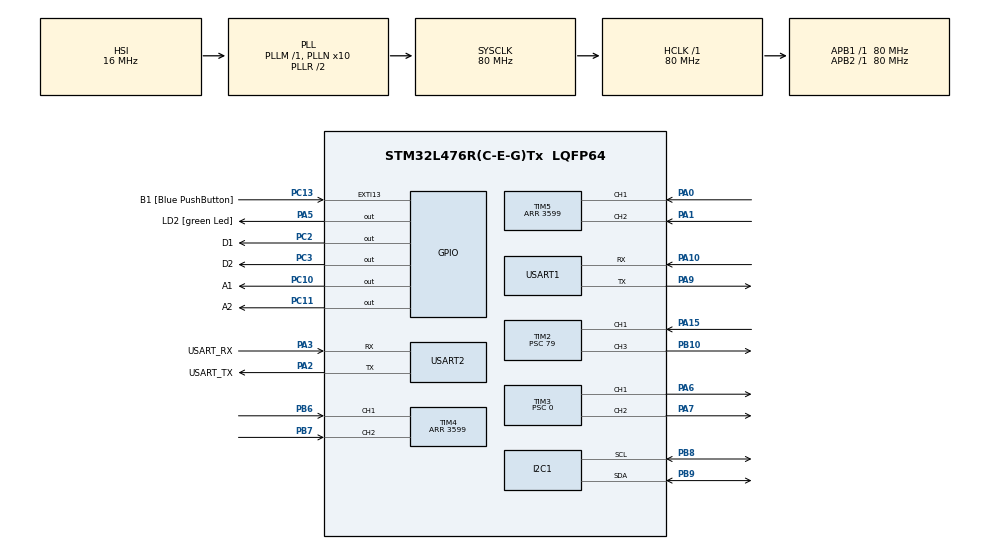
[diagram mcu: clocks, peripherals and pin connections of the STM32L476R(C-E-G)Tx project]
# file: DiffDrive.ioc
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Dma.Request0=USART1_RX
Dma.USART1_RX.0.Direction=DMA_PERIPH_TO_MEMORY
Dma.USART1_RX.0.Instance=DMA1_Channel5
Dma.USART1_RX.0.MemDataAlignment=DMA_MDATAALIGN_BYTE
Dma.USART1_RX.0.MemInc=DMA_MINC_ENABLE
Dma.USART1_RX.0.Mode=DMA_NORMAL
Dma.USART1_RX.0.PeriphDataAlignment=DMA_PDATAALIGN_BYTE
Dma.USART1_RX.0.PeriphInc=DMA_PINC_DISABLE
Dma.USART1_RX.0.Priority=DMA_PRIORITY_LOW
I2C1.CustomTiming=Disabled
I2C1.Timing=0x10909CEC
Mcu.Family=STM32L4
Mcu.Name=STM32L476R(C-E-G)Tx
Mcu.Package=LQFP64
NVIC.DMA1_Channel5_IRQn=true\:3\:0\:true\:false\:true\:false\:true\:true
NVIC.I2C1_ER_IRQn=true\:6\:0\:true\:false\:true\:true\:true\:true
NVIC.I2C1_EV_IRQn=true\:6\:0\:true\:false\:true\:true\:true\:true
NVIC.PriorityGroup=NVIC_PRIORITYGROUP_4
NVIC.TIM6_DAC_IRQn=true\:1\:0\:true\:false\:true\:true\:true\:true
NVIC.USART1_IRQn=true\:4\:0\:true\:false\:true\:true\:true\:true
NVIC.USART2_IRQn=true\:5\:0\:true\:false\:true\:true\:true\:true
PA0.Signal=S_TIM5_CH1
PA1.Signal=S_TIM5_CH2
PA10.Mode=Asynchronous
PA10.Signal=USART1_RX
PA13\ (JTMS-SWDIO).GPIO_Label=TMS
PA13\ (JTMS-SWDIO).Mode=Serial_Wire
PA13\ (JTMS-SWDIO).Signal=SYS_JTMS-SWDIO
PA14\ (JTCK-SWCLK).GPIO_Label=TCK
PA14\ (JTCK-SWCLK).Mode=Serial_Wire
PA14\ (JTCK-SWCLK).Signal=SYS_JTCK-SWCLK
PA15\ (JTDI).Signal=S_TIM2_CH1
PA2.GPIO_Label=USART_TX
PA2.GPIO_Mode=GPIO_MODE_AF_PP
PA2.GPIO_PuPd=GPIO_NOPULL
PA2.GPIO_Speed=GPIO_SPEED_FREQ_VERY_HIGH
PA2.Mode=Asynchronous
PA2.Signal=USART2_TX
PA3.GPIO_Label=USART_RX
PA3.GPIO_Mode=GPIO_MODE_AF_PP
PA3.GPIO_PuPd=GPIO_NOPULL
PA3.GPIO_Speed=GPIO_SPEED_FREQ_VERY_HIGH
PA3.Mode=Asynchronous
PA3.Signal=USART2_RX
PA5.GPIO_Label=LD2 [green Led]
PA5.GPIO_ModeDefaultOutputPP=GPIO_MODE_OUTPUT_PP
PA5.GPIO_PuPd=GPIO_NOPULL
PA5.GPIO_Speed=GPIO_SPEED_FREQ_LOW
PA5.Signal=GPIO_Output
PA6.Signal=S_TIM3_CH1
PA7.Signal=S_TIM3_CH2
PA9.Mode=Asynchronous
PA9.Signal=USART1_TX
PB10.Signal=S_TIM2_CH3
PB3\ (JTDO-TRACESWO).GPIO_Label=SWO
PB3\ (JTDO-TRACESWO).Signal=SYS_JTDO-SWO
PB6.Signal=S_TIM4_CH1
PB7.Signal=S_TIM4_CH2
PB8.Mode=I2C
PB8.Signal=I2C1_SCL
PB9.Mode=I2C
PB9.Signal=I2C1_SDA
PC10.GPIO_Label=A1
PC10.Signal=GPIO_Output
PC11.GPIO_Label=A2
PC11.Signal=GPIO_Output
PC13.GPIO_Label=B1 [Blue PushButton]
PC13.GPIO_ModeDefaultEXTI=GPIO_MODE_IT_FALLING
PC13.GPIO_PuPd=GPIO_NOPULL
PC13.Signal=GPXTI13
PC14-OSC32_IN\ (PC14).Mode=LSE-External-Oscillator
PC14-OSC32_IN\ (PC14).Signal=RCC_OSC32_IN
PC15-OSC32_OUT\ (PC15).Mode=LSE-External-Oscillator
PC15-OSC32_OUT\ (PC15).Signal=RCC_OSC32_OUT
PC2.GPIO_Label=D1
PC2.Signal=GPIO_Output
PC3.GPIO_Label=D2
PC3.Signal=GPIO_Output
PH0-OSC_IN\ (PH0).Signal=RCC_OSC_IN
PH1-OSC_OUT\ (PH1).Signal=RCC_OSC_OUT
ProjectManager.HeapSize=0x200
ProjectManager.StackSize=0x400
ProjectManager.TargetToolchain=STM32CubeIDE
RCC.ADCFreq_Value=64000000
RCC.AHBFreq_Value=80000000
RCC.APB1Freq_Value=80000000
RCC.APB1TimFreq_Value=80000000
RCC.APB2Freq_Value=80000000
RCC.APB2TimFreq_Value=80000000
RCC.CortexFreq_Value=80000000
RCC.HCLKFreq_Value=80000000
RCC.HSE_VALUE=8000000
RCC.HSI_VALUE=16000000
RCC.MSI_VALUE=4000000
RCC.PLLN=10
RCC.PLLSourceVirtual=RCC_PLLSOURCE_HSI
RCC.PREFETCH_ENABLE=1
RCC.SYSCLKFreq_VALUE=80000000
RCC.SYSCLKSource=RCC_SYSCLKSOURCE_PLLCLK
RCC.USBFreq_Value=64000000
RCC.VCOOutputFreq_Value=160000000
SH.S_TIM2_CH1.0=TIM2_CH1,Input_Capture1_from_TI1
SH.S_TIM2_CH3.0=TIM2_CH3,PWM Generation3 CH3
SH.S_TIM3_CH1.0=TIM3_CH1,PWM Generation1 CH1
SH.S_TIM3_CH2.0=TIM3_CH2,PWM Generation2 CH2
SH.S_TIM4_CH1.0=TIM4_CH1,Encoder_Interface
SH.S_TIM4_CH2.0=TIM4_CH2,Encoder_Interface
SH.S_TIM5_CH1.0=TIM5_CH1,Encoder_Interface
SH.S_TIM5_CH2.0=TIM5_CH2,Encoder_Interface
TIM2.Channel-Input_Capture1_from_TI1=TIM_CHANNEL_1
TIM2.Channel-Input_Capture2_from_TI1_63=TIM_CHANNEL_2
TIM2.Channel-PWM\ Generation3\ CH3=TIM_CHANNEL_3
TIM2.ICPolarity_CH1=TIM_INPUTCHANNELPOLARITY_RISING
TIM2.ICPolarity_CH2=TIM_INPUTCHANNELPOLARITY_FALLING
TIM2.Period=999999
TIM2.Prescaler=79
TIM2.Pulse-PWM\ Generation3\ CH3=10
TIM3.Channel-PWM\ Generation1\ CH1=TIM_CHANNEL_1
TIM3.Channel-PWM\ Generation2\ CH2=TIM_CHANNEL_2
TIM3.Period=999
TIM3.Prescaler=0
TIM3.Pulse-PWM\ Generation1\ CH1=50
TIM4.EncoderMode=TIM_ENCODERMODE_TI12
TIM4.IC1Filter=10
TIM4.IC2Filter=10
TIM4.Period=3599
TIM5.EncoderMode=TIM_ENCODERMODE_TI12
TIM5.IC1Filter=10
TIM5.IC2Filter=10
TIM5.Period=3599
TIM6.Period=99
TIM6.Prescaler=7999
USART1.VirtualMode-Asynchronous=VM_ASYNC
USART2.VirtualMode-Asynchronous=VM_ASYNC
VP_TIM2_VS_ClockSourceINT.Mode=Internal
VP_TIM2_VS_indirect_ch1.Mode=Input_Capture2_from_TI1_63
VP_TIM3_VS_ClockSourceINT.Mode=Internal
VP_TIM6_VS_ClockSourceINT.Mode=Enable_Timer
board=NUCLEO-L476RG

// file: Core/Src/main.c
/* USER CODE BEGIN Header */
/**
  ******************************************************************************
  * @file           : main.c
  * @brief          : Main program body
  ******************************************************************************
  * @attention
  *
  * Copyright (c) 2024 STMicroelectronics.
  * All rights reserved.
  *
  * This software is licensed under terms that can be found in the LICENSE file
  * in the root directory of this software component.
  * If no LICENSE file comes with this software, it is provided AS-IS.
  *
  ******************************************************************************
  */
/* USER CODE END Header */
#include "main.h"

/* USER CODE BEGIN Includes */
#include "motor.h"
#include "comms.h"
#include "robot.h"
#include "sensors.h"

#include <string.h>
#include <stdio.h>
#include <string.h>
#include <stdlib.h>

/* USER CODE END Includes */

I2C_HandleTypeDef hi2c1;

TIM_HandleTypeDef htim2;
TIM_HandleTypeDef htim3;
TIM_HandleTypeDef htim4;
TIM_HandleTypeDef htim5;
TIM_HandleTypeDef htim6;

UART_HandleTypeDef huart1;
UART_HandleTypeDef huart2;
DMA_HandleTypeDef hdma_usart1_rx;

void SystemClock_Config(void);
static void MX_GPIO_Init(void);
static void MX_DMA_Init(void);
static void MX_USART2_UART_Init(void);
static void MX_TIM3_Init(void);
static void MX_TIM6_Init(void);
static void MX_USART1_UART_Init(void);
static void MX_TIM5_Init(void);
static void MX_TIM4_Init(void);
static void MX_TIM2_Init(void);
static void MX_I2C1_Init(void);

/* USER CODE BEGIN 0 */
Robot robot; // main robot instance
RxCommsData rxCommsData; // rx comms data
TxCommsData txCommsData;
PollTimers pollTimers; // some timers used for polling

float w;
float ax,ay;
float az;

int __io_putchar(int ch)
{
  if (ch == '\n') {
    __io_putchar('\r');
  }

  HAL_UART_Transmit(&huart2, (uint8_t*)&ch, 1, HAL_MAX_DELAY);

  return 1;
}

void HAL_TIM_PeriodElapsedCallback(TIM_HandleTypeDef *htim)
{
	if(htim == &htim6) // update every 10ms
	{
		calculatePosition(&robot); // uses previous state vector, calculate at the beginning

		motorUpdateVelocity(&(robot.motorLeft));
		motorRegulateVelocity(&(robot.motorLeft));
		motorUpdateVelocity(&(robot.motorRight));
		motorRegulateVelocity(&(robot.motorRight));
	}
	if(htim == &htim4)
	{
		// deprecated
	}
}

void HAL_UARTEx_RxEventCallback(UART_HandleTypeDef *huart, uint16_t Size)
{
	if(huart == &huart1)
	{
		memcpy(rxCommsData.MainBuf, rxCommsData.RxBuf, Size);
		rxCommsData.dataSize = Size;
		rxCommsData.handleIncomingData = 1;
		HAL_UARTEx_ReceiveToIdle_DMA(&huart1, rxCommsData.RxBuf, RxBuf_SIZE);
	}
}

/* USER CODE END 0 */

int main(void)
{

  /* MCU Configuration--------------------------------------------------------*/

  /* Reset of all peripherals, Initializes the Flash interface and the Systick. */
  HAL_Init();

  /* Configure the system clock */
  SystemClock_Config();

  /* Initialize all configured peripherals */
  MX_GPIO_Init();
  MX_DMA_Init();
  MX_USART2_UART_Init();
  MX_TIM3_Init();
  MX_TIM6_Init();
  MX_USART1_UART_Init();
  MX_TIM5_Init();
  MX_TIM4_Init();
  MX_TIM2_Init();
  MX_I2C1_Init();
  /* USER CODE BEGIN 2 */

  initMotor(&(robot.motorRight), &htim3, TIM_CHANNEL_1, &htim4, RIGHT);
  initMotor(&(robot.motorLeft), &htim3, TIM_CHANNEL_2, &htim5, LEFT);

  initRobot(&robot);

  initRxComms(&rxCommsData);
  initTxComms(&txCommsData, &huart1, &(robot.position), &(robot.flag), &(robot.obstacleProximity));

  HAL_TIM_IC_Start(&htim2, TIM_CHANNEL_1);
  HAL_TIM_IC_Start(&htim2, TIM_CHANNEL_2);
  HAL_TIM_PWM_Start(&htim2, TIM_CHANNEL_3);

  HAL_TIM_Base_Start_IT(&htim3);
  HAL_TIM_Base_Start_IT(&htim4);
  HAL_TIM_Base_Start_IT(&htim6);
  HAL_TIM_Base_Start_IT(&htim5);
  HAL_TIM_PWM_Start(&htim3, TIM_CHANNEL_1);
  HAL_TIM_PWM_Start(&htim3, TIM_CHANNEL_2);
  HAL_TIM_Encoder_Start(&htim4, TIM_CHANNEL_ALL);
  HAL_TIM_Encoder_Start(&htim5, TIM_CHANNEL_ALL);

  HAL_UARTEx_ReceiveToIdle_DMA(&huart1, rxCommsData.RxBuf, RxBuf_SIZE);
  __HAL_DMA_DISABLE_IT(&hdma_usart1_rx, DMA_IT_HT);

  initPollTimers(&pollTimers);
  MPU6050_Init(&hi2c1);
  /* USER CODE END 2 */

  /* Infinite loop */
  /* USER CODE BEGIN WHILE */

  motorSetConstSpeed(&(robot.motorLeft), 0);
  motorSetConstSpeed(&(robot.motorRight), 0);

  while (1)
  {
    /* USER CODE END WHILE */

    /* USER CODE BEGIN 3 */
	  readImu(&robot, &pollTimers);
	  readRadar(&robot, &pollTimers, &htim2);
	  pathPlanner(&robot, &pollTimers);

	  handleRx(&rxCommsData, &robot);
	  handleTx(&txCommsData, &pollTimers);

  }
  /* USER CODE END 3 */
}

void SystemClock_Config(void)
{
  RCC_OscInitTypeDef RCC_OscInitStruct = {0};
  RCC_ClkInitTypeDef RCC_ClkInitStruct = {0};

  /** Configure the main internal regulator output voltage
  */
  if (HAL_PWREx_ControlVoltageScaling(PWR_REGULATOR_VOLTAGE_SCALE1) != HAL_OK)
  {
    Error_Handler();
  }

  /** Initializes the RCC Oscillators according to the specified parameters
  * in the RCC_OscInitTypeDef structure.
  */
  RCC_OscInitStruct.OscillatorType = RCC_OSCILLATORTYPE_HSI;
  RCC_OscInitStruct.HSIState = RCC_HSI_ON;
  RCC_OscInitStruct.HSICalibrationValue = RCC_HSICALIBRATION_DEFAULT;
  RCC_OscInitStruct.PLL.PLLState = RCC_PLL_ON;
  RCC_OscInitStruct.PLL.PLLSource = RCC_PLLSOURCE_HSI;
  RCC_OscInitStruct.PLL.PLLM = 1;
  RCC_OscInitStruct.PLL.PLLN = 10;
  RCC_OscInitStruct.PLL.PLLP = RCC_PLLP_DIV7;
  RCC_OscInitStruct.PLL.PLLQ = RCC_PLLQ_DIV2;
  RCC_OscInitStruct.PLL.PLLR = RCC_PLLR_DIV2;
  if (HAL_RCC_OscConfig(&RCC_OscInitStruct) != HAL_OK)
  {
    Error_Handler();
  }

  /** Initializes the CPU, AHB and APB buses clocks
  */
  RCC_ClkInitStruct.ClockType = RCC_CLOCKTYPE_HCLK|RCC_CLOCKTYPE_SYSCLK
                              |RCC_CLOCKTYPE_PCLK1|RCC_CLOCKTYPE_PCLK2;
  RCC_ClkInitStruct.SYSCLKSource = RCC_SYSCLKSOURCE_PLLCLK;
  RCC_ClkInitStruct.AHBCLKDivider = RCC_SYSCLK_DIV1;
  RCC_ClkInitStruct.APB1CLKDivider = RCC_HCLK_DIV1;
  RCC_ClkInitStruct.APB2CLKDivider = RCC_HCLK_DIV1;

  if (HAL_RCC_ClockConfig(&RCC_ClkInitStruct, FLASH_LATENCY_4) != HAL_OK)
  {
    Error_Handler();
  }
}

static void MX_I2C1_Init(void)
{

  hi2c1.Instance = I2C1;
  hi2c1.Init.Timing = 0x10909CEC;
  hi2c1.Init.OwnAddress1 = 0;
  hi2c1.Init.AddressingMode = I2C_ADDRESSINGMODE_7BIT;
  hi2c1.Init.DualAddressMode = I2C_DUALADDRESS_DISABLE;
  hi2c1.Init.OwnAddress2 = 0;
  hi2c1.Init.OwnAddress2Masks = I2C_OA2_NOMASK;
  hi2c1.Init.GeneralCallMode = I2C_GENERALCALL_DISABLE;
  hi2c1.Init.NoStretchMode = I2C_NOSTRETCH_DISABLE;
  if (HAL_I2C_Init(&hi2c1) != HAL_OK)
  {
    Error_Handler();
  }

  /** Configure Analogue filter
  */
  if (HAL_I2CEx_ConfigAnalogFilter(&hi2c1, I2C_ANALOGFILTER_ENABLE) != HAL_OK)
  {
    Error_Handler();
  }

  /** Configure Digital filter
  */
  if (HAL_I2CEx_ConfigDigitalFilter(&hi2c1, 0) != HAL_OK)
  {
    Error_Handler();
  }

}

static void MX_TIM2_Init(void)
{

  TIM_ClockConfigTypeDef sClockSourceConfig = {0};
  TIM_MasterConfigTypeDef sMasterConfig = {0};
  TIM_IC_InitTypeDef sConfigIC = {0};
  TIM_OC_InitTypeDef sConfigOC = {0};

  htim2.Instance = TIM2;
  htim2.Init.Prescaler = 79;
  htim2.Init.CounterMode = TIM_COUNTERMODE_UP;
  htim2.Init.Period = 999999;
  htim2.Init.ClockDivision = TIM_CLOCKDIVISION_DIV1;
  htim2.Init.AutoReloadPreload = TIM_AUTORELOAD_PRELOAD_DISABLE;
  if (HAL_TIM_Base_Init(&htim2) != HAL_OK)
  {
    Error_Handler();
  }
  sClockSourceConfig.ClockSource = TIM_CLOCKSOURCE_INTERNAL;
  if (HAL_TIM_ConfigClockSource(&htim2, &sClockSourceConfig) != HAL_OK)
  {
    Error_Handler();
  }
  if (HAL_TIM_IC_Init(&htim2) != HAL_OK)
  {
    Error_Handler();
  }
  if (HAL_TIM_PWM_Init(&htim2) != HAL_OK)
  {
    Error_Handler();
  }
  sMasterConfig.MasterOutputTrigger = TIM_TRGO_RESET;
  sMasterConfig.MasterSlaveMode = TIM_MASTERSLAVEMODE_DISABLE;
  if (HAL_TIMEx_MasterConfigSynchronization(&htim2, &sMasterConfig) != HAL_OK)
  {
    Error_Handler();
  }
  sConfigIC.ICPolarity = TIM_INPUTCHANNELPOLARITY_RISING;
  sConfigIC.ICSelection = TIM_ICSELECTION_DIRECTTI;
  sConfigIC.ICPrescaler = TIM_ICPSC_DIV1;
  sConfigIC.ICFilter = 0;
  if (HAL_TIM_IC_ConfigChannel(&htim2, &sConfigIC, TIM_CHANNEL_1) != HAL_OK)
  {
    Error_Handler();
  }
  sConfigIC.ICPolarity = TIM_INPUTCHANNELPOLARITY_FALLING;
  sConfigIC.ICSelection = TIM_ICSELECTION_INDIRECTTI;
  if (HAL_TIM_IC_ConfigChannel(&htim2, &sConfigIC, TIM_CHANNEL_2) != HAL_OK)
  {
    Error_Handler();
  }
  sConfigOC.OCMode = TIM_OCMODE_PWM1;
  sConfigOC.Pulse = 10;
  sConfigOC.OCPolarity = TIM_OCPOLARITY_HIGH;
  sConfigOC.OCFastMode = TIM_OCFAST_DISABLE;
  if (HAL_TIM_PWM_ConfigChannel(&htim2, &sConfigOC, TIM_CHANNEL_3) != HAL_OK)
  {
    Error_Handler();
  }
  HAL_TIM_MspPostInit(&htim2);

}

static void MX_TIM3_Init(void)
{

  TIM_ClockConfigTypeDef sClockSourceConfig = {0};
  TIM_MasterConfigTypeDef sMasterConfig = {0};
  TIM_OC_InitTypeDef sConfigOC = {0};

  htim3.Instance = TIM3;
  htim3.Init.Prescaler = 0;
  htim3.Init.CounterMode = TIM_COUNTERMODE_UP;
  htim3.Init.Period = 999;
  htim3.Init.ClockDivision = TIM_CLOCKDIVISION_DIV1;
  htim3.Init.AutoReloadPreload = TIM_AUTORELOAD_PRELOAD_DISABLE;
  if (HAL_TIM_Base_Init(&htim3) != HAL_OK)
  {
    Error_Handler();
  }
  sClockSourceConfig.ClockSource = TIM_CLOCKSOURCE_INTERNAL;
  if (HAL_TIM_ConfigClockSource(&htim3, &sClockSourceConfig) != HAL_OK)
  {
    Error_Handler();
  }
  if (HAL_TIM_PWM_Init(&htim3) != HAL_OK)
  {
    Error_Handler();
  }
  sMasterConfig.MasterOutputTrigger = TIM_TRGO_RESET;
  sMasterConfig.MasterSlaveMode = TIM_MASTERSLAVEMODE_DISABLE;
  if (HAL_TIMEx_MasterConfigSynchronization(&htim3, &sMasterConfig) != HAL_OK)
  {
    Error_Handler();
  }
  sConfigOC.OCMode = TIM_OCMODE_PWM1;
  sConfigOC.Pulse = 50;
  sConfigOC.OCPolarity = TIM_OCPOLARITY_HIGH;
  sConfigOC.OCFastMode = TIM_OCFAST_DISABLE;
  if (HAL_TIM_PWM_ConfigChannel(&htim3, &sConfigOC, TIM_CHANNEL_1) != HAL_OK)
  {
    Error_Handler();
  }
  sConfigOC.Pulse = 0;
  if (HAL_TIM_PWM_ConfigChannel(&htim3, &sConfigOC, TIM_CHANNEL_2) != HAL_OK)
  {
    Error_Handler();
  }
  HAL_TIM_MspPostInit(&htim3);

}

static void MX_TIM4_Init(void)
{

  TIM_Encoder_InitTypeDef sConfig = {0};
  TIM_MasterConfigTypeDef sMasterConfig = {0};

  htim4.Instance = TIM4;
  htim4.Init.Prescaler = 0;
  htim4.Init.CounterMode = TIM_COUNTERMODE_UP;
  htim4.Init.Period = 3599;
  htim4.Init.ClockDivision = TIM_CLOCKDIVISION_DIV1;
  htim4.Init.AutoReloadPreload = TIM_AUTORELOAD_PRELOAD_DISABLE;
  sConfig.EncoderMode = TIM_ENCODERMODE_TI12;
  sConfig.IC1Polarity = TIM_ICPOLARITY_RISING;
  sConfig.IC1Selection = TIM_ICSELECTION_DIRECTTI;
  sConfig.IC1Prescaler = TIM_ICPSC_DIV1;
  sConfig.IC1Filter = 10;
  sConfig.IC2Polarity = TIM_ICPOLARITY_RISING;
  sConfig.IC2Selection = TIM_ICSELECTION_DIRECTTI;
  sConfig.IC2Prescaler = TIM_ICPSC_DIV1;
  sConfig.IC2Filter = 10;
  if (HAL_TIM_Encoder_Init(&htim4, &sConfig) != HAL_OK)
  {
    Error_Handler();
  }
  sMasterConfig.MasterOutputTrigger = TIM_TRGO_RESET;
  sMasterConfig.MasterSlaveMode = TIM_MASTERSLAVEMODE_DISABLE;
  if (HAL_TIMEx_MasterConfigSynchronization(&htim4, &sMasterConfig) != HAL_OK)
  {
    Error_Handler();
  }

}

static void MX_TIM5_Init(void)
{

  TIM_Encoder_InitTypeDef sConfig = {0};
  TIM_MasterConfigTypeDef sMasterConfig = {0};

  htim5.Instance = TIM5;
  htim5.Init.Prescaler = 0;
  htim5.Init.CounterMode = TIM_COUNTERMODE_UP;
  htim5.Init.Period = 3599;
  htim5.Init.ClockDivision = TIM_CLOCKDIVISION_DIV1;
  htim5.Init.AutoReloadPreload = TIM_AUTORELOAD_PRELOAD_DISABLE;
  sConfig.EncoderMode = TIM_ENCODERMODE_TI12;
  sConfig.IC1Polarity = TIM_ICPOLARITY_RISING;
  sConfig.IC1Selection = TIM_ICSELECTION_DIRECTTI;
  sConfig.IC1Prescaler = TIM_ICPSC_DIV1;
  sConfig.IC1Filter = 10;
  sConfig.IC2Polarity = TIM_ICPOLARITY_RISING;
  sConfig.IC2Selection = TIM_ICSELECTION_DIRECTTI;
  sConfig.IC2Prescaler = TIM_ICPSC_DIV1;
  sConfig.IC2Filter = 10;
  if (HAL_TIM_Encoder_Init(&htim5, &sConfig) != HAL_OK)
  {
    Error_Handler();
  }
  sMasterConfig.MasterOutputTrigger = TIM_TRGO_RESET;
  sMasterConfig.MasterSlaveMode = TIM_MASTERSLAVEMODE_DISABLE;
  if (HAL_TIMEx_MasterConfigSynchronization(&htim5, &sMasterConfig) != HAL_OK)
  {
    Error_Handler();
  }

}

static void MX_TIM6_Init(void)
{

  TIM_MasterConfigTypeDef sMasterConfig = {0};

  htim6.Instance = TIM6;
  htim6.Init.Prescaler = 7999;
  htim6.Init.CounterMode = TIM_COUNTERMODE_UP;
  htim6.Init.Period = 99;
  htim6.Init.AutoReloadPreload = TIM_AUTORELOAD_PRELOAD_DISABLE;
  if (HAL_TIM_Base_Init(&htim6) != HAL_OK)
  {
    Error_Handler();
  }
  sMasterConfig.MasterOutputTrigger = TIM_TRGO_RESET;
  sMasterConfig.MasterSlaveMode = TIM_MASTERSLAVEMODE_DISABLE;
  if (HAL_TIMEx_MasterConfigSynchronization(&htim6, &sMasterConfig) != HAL_OK)
  {
    Error_Handler();
  }

}

static void MX_USART1_UART_Init(void)
{

  huart1.Instance = USART1;
  huart1.Init.BaudRate = 115200;
  huart1.Init.WordLength = UART_WORDLENGTH_8B;
  huart1.Init.StopBits = UART_STOPBITS_1;
  huart1.Init.Parity = UART_PARITY_NONE;
  huart1.Init.Mode = UART_MODE_TX_RX;
  huart1.Init.HwFlowCtl = UART_HWCONTROL_NONE;
  huart1.Init.OverSampling = UART_OVERSAMPLING_16;
  huart1.Init.OneBitSampling = UART_ONE_BIT_SAMPLE_DISABLE;
  huart1.AdvancedInit.AdvFeatureInit = UART_ADVFEATURE_NO_INIT;
  if (HAL_UART_Init(&huart1) != HAL_OK)
  {
    Error_Handler();
  }

}

static void MX_USART2_UART_Init(void)
{

  huart2.Instance = USART2;
  huart2.Init.BaudRate = 115200;
  huart2.Init.WordLength = UART_WORDLENGTH_8B;
  huart2.Init.StopBits = UART_STOPBITS_1;
  huart2.Init.Parity = UART_PARITY_NONE;
  huart2.Init.Mode = UART_MODE_TX_RX;
  huart2.Init.HwFlowCtl = UART_HWCONTROL_NONE;
  huart2.Init.OverSampling = UART_OVERSAMPLING_16;
  huart2.Init.OneBitSampling = UART_ONE_BIT_SAMPLE_DISABLE;
  huart2.AdvancedInit.AdvFeatureInit = UART_ADVFEATURE_NO_INIT;
  if (HAL_UART_Init(&huart2) != HAL_OK)
  {
    Error_Handler();
  }

}

static void MX_DMA_Init(void)
{

  /* DMA controller clock enable */
  __HAL_RCC_DMA1_CLK_ENABLE();

  /* DMA interrupt init */
  /* DMA1_Channel5_IRQn interrupt configuration */
  HAL_NVIC_SetPriority(DMA1_Channel5_IRQn, 3, 0);
  HAL_NVIC_EnableIRQ(DMA1_Channel5_IRQn);

}

static void MX_GPIO_Init(void)
{
  GPIO_InitTypeDef GPIO_InitStruct = {0};

  /* GPIO Ports Clock Enable */
  __HAL_RCC_GPIOC_CLK_ENABLE();
  __HAL_RCC_GPIOH_CLK_ENABLE();
  __HAL_RCC_GPIOA_CLK_ENABLE();
  __HAL_RCC_GPIOB_CLK_ENABLE();

  /*Configure GPIO pin Output Level */
  HAL_GPIO_WritePin(GPIOC, D1_Pin|D2_Pin|A1_Pin|A2_Pin, GPIO_PIN_RESET);

  /*Configure GPIO pin Output Level */
  HAL_GPIO_WritePin(LD2_GPIO_Port, LD2_Pin, GPIO_PIN_RESET);

  /*Configure GPIO pin : B1_Pin */
  GPIO_InitStruct.Pin = B1_Pin;
  GPIO_InitStruct.Mode = GPIO_MODE_IT_FALLING;
  GPIO_InitStruct.Pull = GPIO_NOPULL;
  HAL_GPIO_Init(B1_GPIO_Port, &GPIO_InitStruct);

  /*Configure GPIO pins : D1_Pin D2_Pin A1_Pin A2_Pin */
  GPIO_InitStruct.Pin = D1_Pin|D2_Pin|A1_Pin|A2_Pin;
  GPIO_InitStruct.Mode = GPIO_MODE_OUTPUT_PP;
  GPIO_InitStruct.Pull = GPIO_NOPULL;
  GPIO_InitStruct.Speed = GPIO_SPEED_FREQ_LOW;
  HAL_GPIO_Init(GPIOC, &GPIO_InitStruct);

  /*Configure GPIO pin : LD2_Pin */
  GPIO_InitStruct.Pin = LD2_Pin;
  GPIO_InitStruct.Mode = GPIO_MODE_OUTPUT_PP;
  GPIO_InitStruct.Pull = GPIO_NOPULL;
  GPIO_InitStruct.Speed = GPIO_SPEED_FREQ_LOW;
  HAL_GPIO_Init(LD2_GPIO_Port, &GPIO_InitStruct);

}

void Error_Handler(void)
{
  __disable_irq();
  while (1)
  {
  }
}
